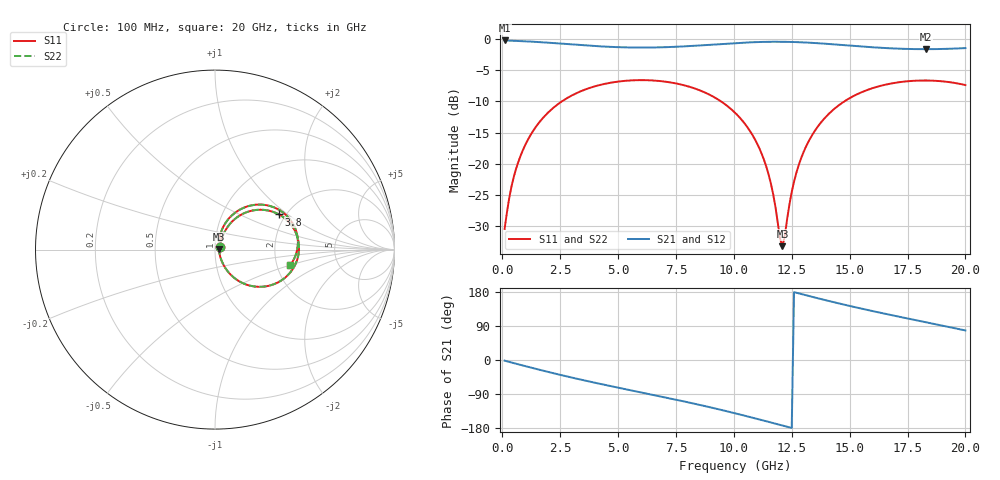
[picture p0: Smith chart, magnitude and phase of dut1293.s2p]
! Touchstone file exported from HFSS 2026.1.0
!  File:  C:/ffzhzh/LocalFiles/Ansys_Project_Files/temp_train_TSV_RDL_1293_1783332468_5512.aedt
!  Generated:  06:17:57 PM Jul  6, 2026
!  Design:  TSV_RDL
!  Project:  temp_train_TSV_RDL_1293_1783332468_5512
! Variables:
!  h_bsmrdl = 3.43um
!  h_ox = 20um
!  h_rdl = 5um
!  h_sub = 64.68um
!  h_tmrdl = 2.56um
!  h_tsv = 64.68um
!  h_via = 3um
!  l_bsmrdl = 970.53um
!  l_sub = 4809.67um
!  l_tmrdl = 345.18um
!  m_sub = 200um
!  pitch = 43.79um
!  r_tsv = 12.81um
!  s_tmrdl = 10um
!  w_bsmrdl = 23.44um
!  w_sub = 500um
!  w_tmrdl = 15.68um
!  x_tsv_center1 = 353.02um
!  x_tsv_center2 = 1346.99um
!  x_tsv_center3 = 1707.85um
!  x_tsv_center4 = 2701.82um
!  x_tsv_center5 = 3062.68um
!  x_tsv_center6 = 4056.65um
# GHz S MA R 50.000000
! Terminal data exported
! Port[1] = TM_RDL1_1_T1
! Port[2] = TM_RDL5_1_T1
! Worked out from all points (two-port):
!   200 points, 100 MHz to 20 GHz, reference 50 ohm
!   highest |S21| = -0.23 dB at 100 MHz (marker M1); lowest = -1.6 dB at 18.3 GHz (marker M2)
!   |S21| within 3 dB of the highest: start of sweep to end of sweep
!   lowest |S11| = -33.2 dB at 12.1 GHz (marker M3), VSWR 1.04, Z = 52.2 + j0.344 ohm
!   |S11| at or under -10 dB: start of sweep to 2.573 GHz; 9.446 GHz to 14.77 GHz (5.327 GHz wide, 44 % of centre)
!   |S22| runs from -33.0 to -6.6 dB; largest |S21 - S12| = 1.6e-14
!   S11 on the Smith chart (normalised r, x): 100 MHz: 1.05, +0.03; 3.8 GHz: 1.85, +0.87; 20 GHz: 2.36, -0.50
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0.1  0.03003 29.7  0.9743 -1.7  0.9743 -1.7  0.03003 29.7
! Gamma 0 0 0 0
! Port Impedance 50 0 50 0
0.5  0.07886 59.8  0.968 -8.3  0.968 -8.3  0.07885 59.8
1.2  0.1674 59.7  0.9549 -19.5  0.9549 -19.5  0.1674 59.7
2.2  0.2804 48.9  0.9286 -34.8  0.9286 -34.8  0.2804 48.9
3.5  0.3887 32.5  0.8909 -53.3  0.8909 -53.3  0.3887 32.5
3.8  0.407 28.7  0.8832 -57.3  0.8832 -57.3  0.407 28.7
5.3  0.4622 10.4  0.8575 -76.8  0.8575 -76.8  0.4622 10.4
6.8  0.4607 -7.6  0.8578 -95.7  0.8578 -95.7  0.4607 -7.6
8.6  0.3832 -30.0  0.8902 -119.5  0.8902 -119.5  0.3832 -29.9
10.1  0.2512 -49.4  0.9284 -141.3  0.9284 -141.3  0.2513 -49.3
10.8  0.1705 -57.6  0.9425 -152.1  0.9425 -152.1  0.1705 -57.4
11.3  0.1077 -61.0  0.9488 -160.1  0.9488 -160.1  0.1078 -60.7
11.6  0.06935 -59.0  0.9508 -164.9  0.9508 -164.9  0.06949 -58.6
12  0.02489 -22.5  0.9511 -171.3  0.9511 -171.3  0.02533 -21.9
12.1  0.02183 8.7  0.9507 -172.9  0.9507 -172.9  0.02234 8.7
12.5  0.05935 67.1  0.9476 -179.3  0.9476 -179.3  0.05956 66.7
12.7  0.08457 70.6  0.9451 177.5  0.9451 177.5  0.08472 70.3
13.4  0.1719 67.5  0.9317 166.4  0.9317 166.4  0.172 67.4
14.7  0.3098 51.9  0.8953 146.9  0.8953 146.9  0.3099 51.9
16.7  0.4367 27.1  0.8439 119.8  0.8439 119.8  0.4368 27.1
18.3  0.4652 8.3  0.8294 99.6  0.8294 99.6  0.4652 8.2
20  0.4274 -11.7  0.8461 78.0  0.8461 78.0  0.4275 -11.8
